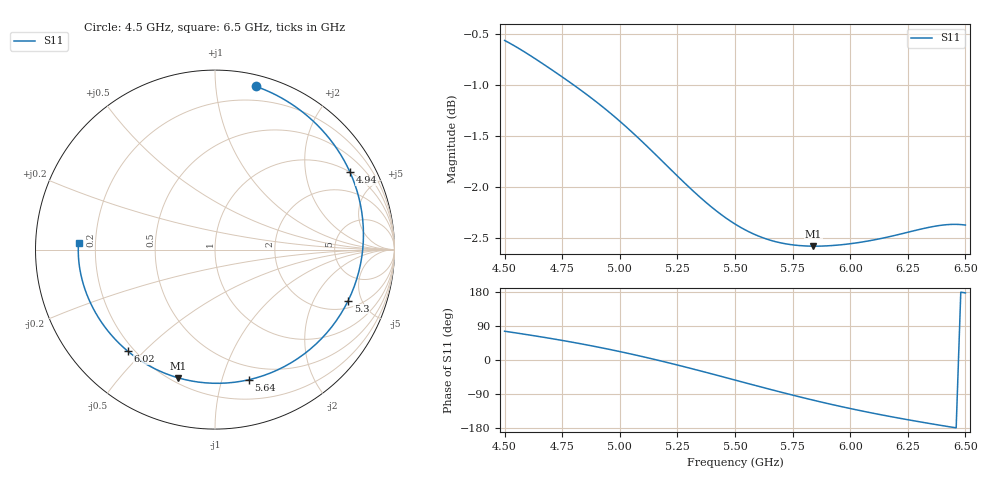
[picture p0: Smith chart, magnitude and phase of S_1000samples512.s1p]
! TOUCHSTONE file generated by CST MICROWAVE STUDIO
! Date and time: Fri Oct 28 10:26:16 2022
! Project name: L.cst
! Parameters = {Di=1.27; Epsilon_r=1.56; InnerDiameter=1.27; Length=2; Lf=10; Lg=60; OuterConductorThickness=0.2921; OuterDiameter=3.6; Wf=3; Wp=41.2; de=1.5; df=6.8; g=0.8; gx=3.26535; gy=1.18965; h=2.34; hf=1.524; px=10.5894; py=8.73928; w=9.7; wx=7.32408; wy=7.54963}
! Header version: 2018
! Port assignment regex: !\s*Touchstone port\s*([0-9]+)\s*=\s*(CST MWS port|CST DS port)\s*([0-9]+|Zmin|Zmax)\s*\(\"(.*)\"\)(\s*mode\s*([0-9]+))?.*
! Touchstone port assignment:
! Touchstone port 1 = CST MWS port 1 ("")
# GHz S DB R 50
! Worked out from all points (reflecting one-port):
!   101 points, 4.5 GHz to 6.5 GHz, reference 50 ohm
!   lowest |S11| = -2.6 dB at 5.84 GHz (marker M1), VSWR 6.79, Z = 11.4 - j36.4 ohm
!   phase of S11 starts at 76 deg and turns -259 deg over the sweep
!   S11 on the Smith chart (normalised r, x): 4.5 GHz: 0.09, +1.28; 4.94 GHz: 1.00, +3.48; 5.3 GHz: 2.50, -3.86; 5.64 GHz: 0.37, -1.22; 6.02 GHz: 0.18, -0.45; 6.5 GHz: 0.14, +0.03
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4.5  -0.56 76.0
4.56  -0.64 70.5
4.64  -0.75 62.8
4.76  -0.94 50.6
4.84  -1.06 41.8
4.94  -1.24 29.8
5  -1.35 22.2
5.08  -1.52 11.5
5.14  -1.65 3.0
5.2  -1.78 -5.7
5.26  -1.91 -14.8
5.3  -2.00 -20.9
5.34  -2.08 -27.2
5.4  -2.20 -36.8
5.5  -2.36 -52.9
5.58  -2.46 -65.9
5.64  -2.51 -75.5
5.7  -2.54 -84.9
5.76  -2.57 -94.1
5.84  -2.58 -106.0
5.92  -2.57 -117.3
6  -2.55 -128.0
6.02  -2.55 -130.6
6.08  -2.52 -138.1
6.14  -2.50 -145.2
6.26  -2.43 -158.7
6.38  -2.38 -171.2
6.5  -2.37 177.1
